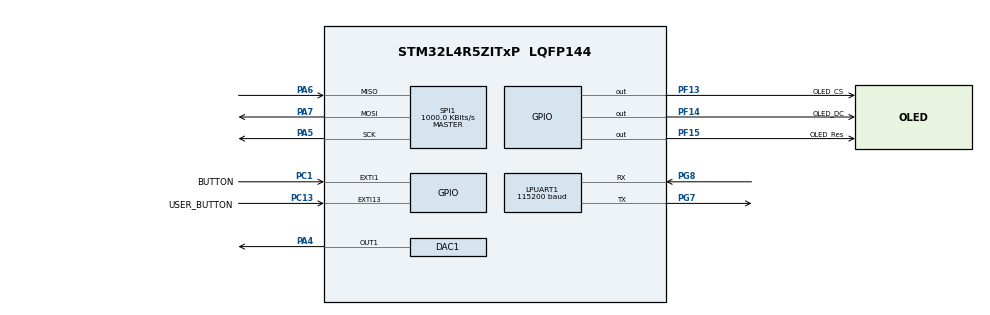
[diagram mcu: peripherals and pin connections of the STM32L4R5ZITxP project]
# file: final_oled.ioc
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DAC1.DAC_Trigger-DAC_OUT1_ExtAndInt=DAC_TRIGGER_T6_TRGO
Dma.DAC1_CH1.0.Direction=DMA_MEMORY_TO_PERIPH
Dma.DAC1_CH1.0.EventEnable=DISABLE
Dma.DAC1_CH1.0.Instance=DMA1_Channel1
Dma.DAC1_CH1.0.MemDataAlignment=DMA_MDATAALIGN_HALFWORD
Dma.DAC1_CH1.0.MemInc=DMA_MINC_ENABLE
Dma.DAC1_CH1.0.Mode=DMA_NORMAL
Dma.DAC1_CH1.0.PeriphDataAlignment=DMA_PDATAALIGN_HALFWORD
Dma.DAC1_CH1.0.PeriphInc=DMA_PINC_DISABLE
Dma.DAC1_CH1.0.Polarity=HAL_DMAMUX_REQUEST_GEN_RISING
Dma.DAC1_CH1.0.Priority=DMA_PRIORITY_LOW
Dma.DAC1_CH1.0.RequestNumber=1
Dma.DAC1_CH1.0.SignalID=NONE
Dma.DAC1_CH1.0.SyncEnable=DISABLE
Dma.DAC1_CH1.0.SyncPolarity=HAL_DMAMUX_SYNC_NO_EVENT
Dma.DAC1_CH1.0.SyncRequestNumber=1
Dma.DAC1_CH1.0.SyncSignalID=NONE
Dma.Request0=DAC1_CH1
LPUART1.BaudRate=115200
LPUART1.WordLength=UART_WORDLENGTH_8B
Mcu.Family=STM32L4
Mcu.Name=STM32L4R5ZITxP
Mcu.Package=LQFP144
NVIC.DMA1_Channel1_IRQn=true\:0\:0\:false\:false\:true\:false\:true\:true
NVIC.EXTI1_IRQn=true\:0\:0\:false\:false\:true\:true\:true\:true
NVIC.PriorityGroup=NVIC_PRIORITYGROUP_4
NVIC.TIM6_DAC_IRQn=true\:0\:0\:false\:false\:true\:true\:true\:true
PA1.Signal=ADCx_IN6
PA10.Signal=USB_OTG_FS_ID
PA13\ (JTMS/SWDIO).Signal=SYS_JTMS-SWDIO
PA14\ (JTCK/SWCLK).Signal=SYS_JTCK-SWCLK
PA3.Signal=ADCx_IN8
PA4.Signal=COMP_DAC11_group
PA5.Mode=Full_Duplex_Master
PA5.Signal=SPI1_SCK
PA6.Mode=Full_Duplex_Master
PA6.Signal=SPI1_MISO
PA7.Mode=Full_Duplex_Master
PA7.Signal=SPI1_MOSI
PA8.Signal=USB_OTG_FS_SOF
PA9.Signal=USB_OTG_FS_VBUS
PB0.Signal=S_TIM3_CH3
PB1.Signal=ADCx_IN16
PB10.Signal=S_TIM2_CH3
PB12.Signal=SAI2_FS_A
PB13.Signal=SAI2_SCK_A
PB14.Signal=S_TIM15_CH1
PB15.Signal=SAI2_SD_A
PB2.Signal=COMP1_INP
PB3\ (JTDO/TRACESWO).Signal=SPI3_SCK
PB4\ (NJTRST).Signal=SPI3_MISO
PB5.Signal=SPI3_MOSI
PB6.Signal=COMP2_INP
PB8.Signal=I2C1_SCL
PB9.Signal=I2C1_SDA
PC0.Signal=ADCx_IN1
PC1.GPIO_Label=BUTTON
PC1.GPIO_ModeDefaultEXTI=GPIO_MODE_IT_RISING_FALLING
PC1.GPIO_PuPd=GPIO_PULLUP
PC1.Signal=GPXTI1
PC10.Signal=SDMMC1_D2
PC11.Signal=SDMMC1_D3
PC12.Signal=SDMMC1_CK
PC13.GPIO_Label=USER_BUTTON
PC13.GPIO_PuPd=GPIO_PULLDOWN
PC13.Signal=GPXTI13
PC14-OSC32_IN\ (PC14).Signal=RCC_OSC32_IN
PC15-OSC32_OUT\ (PC15).Signal=RCC_OSC32_OUT
PC2.Signal=ADCx_IN3
PC3.Signal=ADCx_IN4
PC4.Signal=ADCx_IN13
PC5.Signal=ADCx_IN14
PC6.Signal=SAI2_MCLK_A
PC7.Signal=S_TIM3_CH2
PC8.Signal=SDMMC1_D0
PC9.Signal=SDMMC1_D1
PD0.Signal=CAN1_RX
PD14.Signal=S_TIM4_CH3
PD15.Signal=S_TIM4_CH4
PD2.Signal=SDMMC1_CMD
PD3.Signal=USART2_CTS
PD4.Signal=USART2_RTS
PD5.Signal=USART2_TX
PD6.Signal=USART2_RX
PD8.Signal=USART3_TX
PD9.Signal=USART3_RX
PE0.Signal=S_TIM4_ETR
PE10.Signal=TIM1_CH2N
PE11.Signal=S_TIM1_CH2
PE12.Signal=TIM1_CH3N
PE13.Signal=S_TIM1_CH3
PE14.Signal=TIM1_BKIN2
PE15.Signal=TIM1_BKIN
PE2.Signal=SAI1_MCLK_A
PE3.Signal=SAI1_SD_B
PE7.Signal=S_TIM1_ETR
PE8.Signal=TIM1_CH1N
PE9.Signal=S_TIM1_CH1
PF0.Signal=I2C2_SDA
PF1.Signal=I2C2_SCL
PF13.GPIO_Label=OLED_CS
PF13.GPIO_Speed=GPIO_SPEED_FREQ_LOW
PF13.PinState=GPIO_PIN_SET
PF13.Signal=GPIO_Output
PF14.GPIO_Label=OLED_DC
PF14.PinState=GPIO_PIN_SET
PF14.Signal=GPIO_Output
PF15.GPIO_Label=OLED_Res
PF15.PinState=GPIO_PIN_SET
PF15.Signal=GPIO_Output
PF2.Signal=I2C2_SMBA
PF7.Signal=SAI1_MCLK_B
PG7.Mode=Asynchronous
PG7.Signal=LPUART1_TX
PG8.Mode=Asynchronous
PG8.Signal=LPUART1_RX
PH0-OSC_IN\ (PH0).Signal=RCC_OSC_IN
PH1-OSC_OUT\ (PH1).Signal=RCC_OSC_OUT
ProjectManager.HeapSize=0x200
ProjectManager.StackSize=0x400
ProjectManager.TargetToolchain=STM32CubeIDE
RCC.HSE_VALUE=8000000
RCC.HSI48_VALUE=48000000
RCC.HSI_VALUE=16000000
RCC.LSE_VALUE=32768
RCC.MSI_VALUE=4000000
RCC.VCOOutputFreq_Value=32000000
SH.ADCx_IN1.0=ADC1_IN1
SH.ADCx_IN13.0=ADC1_IN13
SH.ADCx_IN14.0=ADC1_IN14
SH.ADCx_IN16.0=ADC1_IN16
SH.ADCx_IN3.0=ADC1_IN3
SH.ADCx_IN4.0=ADC1_IN4
SH.ADCx_IN6.0=ADC1_IN6
SH.ADCx_IN8.0=ADC1_IN8
SH.COMP_DAC11_group.0=DAC1_OUT1,DAC_OUT1_ExtAndInt
SH.S_TIM15_CH1.0=TIM15_CH1
SH.S_TIM1_CH1.0=TIM1_CH1
SH.S_TIM1_CH2.0=TIM1_CH2
SH.S_TIM1_CH3.0=TIM1_CH3
SH.S_TIM1_ETR.0=TIM1_ETR
SH.S_TIM2_CH3.0=TIM2_CH3
SH.S_TIM3_CH2.0=TIM3_CH2
SH.S_TIM3_CH3.0=TIM3_CH3
SH.S_TIM4_CH3.0=TIM4_CH3
SH.S_TIM4_CH4.0=TIM4_CH4
SH.S_TIM4_ETR.0=TIM4_ETR
SPI1.BaudRatePrescaler=SPI_BAUDRATEPRESCALER_4
SPI1.CalculateBaudRate=1000.0 KBits/s
SPI1.DataSize=SPI_DATASIZE_8BIT
SPI1.Direction=SPI_DIRECTION_2LINES
SPI1.Mode=SPI_MODE_MASTER
SPI1.VirtualType=VM_MASTER
TIM6.Period=181
TIM6.TIM_MasterOutputTrigger=TIM_TRGO_UPDATE
VP_TIM6_VS_ClockSourceINT.Mode=Enable_Timer
board=NUCLEO-L4R5ZI-P

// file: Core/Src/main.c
/* USER CODE BEGIN Header */
/**
  ******************************************************************************
  * @file           : main.c
  * @brief          : Main program body
  ******************************************************************************
  * @attention
  *
  * Copyright (c) 2025 STMicroelectronics.
  * All rights reserved.
  *
  * This software is licensed under terms that can be found in the LICENSE file
  * in the root directory of this software component.
  * If no LICENSE file comes with this software, it is provided AS-IS.
  *
  ******************************************************************************
  */
/* USER CODE END Header */
#include "main.h"
#include "dac.h"
#include "dma.h"
#include "usart.h"
#include "spi.h"
#include "tim.h"
#include "gpio.h"

/* USER CODE BEGIN Includes */
#include "ssd1306.h"
#include "ssd1306_fonts.h"
#include <string.h>

#include "utils.h"
#include <stdio.h>

#include "ssd1306_tests.h"
#include "system_state.h"
#include "button.h"
#include "oled.h"
#include "speaker.h"

/* USER CODE END Includes */

void SystemClock_Config(void);

int main(void)
{

  /* MCU Configuration--------------------------------------------------------*/

  /* Reset of all peripherals, Initializes the Flash interface and the Systick. */
  HAL_Init();

  /* Configure the system clock */
  SystemClock_Config();

  /* Initialize all configured peripherals */
  MX_GPIO_Init();
  MX_DMA_Init();
  MX_LPUART1_UART_Init();
  MX_SPI1_Init();
  MX_DAC1_Init();
  MX_TIM6_Init();
  /* USER CODE BEGIN 2 */

  ssd1306_Init(); 				// Initialize OLED display

  initSpeaker();				// Initialize speaker

  // Display startup message
  ssd1306_SetCursor(5, 5);	  	// Place cursor
  ssd1306_WriteString("Bike Drifter", Font_7x10, White);
  ssd1306_UpdateScreen();

  /* USER CODE END 2 */

  /* Infinite loop */
  /* USER CODE BEGIN WHILE */

  while (1)
  {

	  // 1. Determine button press and set flags for OLED, speaker, and accel
	  handle_button();

//	  read_accelerometer();		// TODO

	  // 2. Refresh the display to show new message
	  if (refreshDisplay) {
		  refreshDisplay = 0;

		  switch (currentMode) {
		  	  case MODE_ACCEL:
		  		  oled_accel_mode();
		  		  break;
		  	  case MODE_SOUND:
		  		  oled_speaker_mode();
		  		  break;
		  	  case MODE_VOLUME:
		  		  oled_volume_mode();
		  		  break;
		  }
	  }

	  // 3. Play drift sound
	  if (playSound) {
		  playSound = 0;
		  playDrift(driftIndex, volumeScale);
	  }

    /* USER CODE END WHILE */

  }
}

void SystemClock_Config(void)
{
  RCC_OscInitTypeDef RCC_OscInitStruct = {0};
  RCC_ClkInitTypeDef RCC_ClkInitStruct = {0};

  /** Configure the main internal regulator output voltage
  */
  if (HAL_PWREx_ControlVoltageScaling(PWR_REGULATOR_VOLTAGE_SCALE1) != HAL_OK)
  {
    Error_Handler();
  }

  /** Initializes the RCC Oscillators according to the specified parameters
  * in the RCC_OscInitTypeDef structure.
  */
  RCC_OscInitStruct.OscillatorType = RCC_OSCILLATORTYPE_MSI;
  RCC_OscInitStruct.MSIState = RCC_MSI_ON;
  RCC_OscInitStruct.MSICalibrationValue = 0;
  RCC_OscInitStruct.MSIClockRange = RCC_MSIRANGE_6;
  RCC_OscInitStruct.PLL.PLLState = RCC_PLL_NONE;
  if (HAL_RCC_OscConfig(&RCC_OscInitStruct) != HAL_OK)
  {
    Error_Handler();
  }

  /** Initializes the CPU, AHB and APB buses clocks
  */
  RCC_ClkInitStruct.ClockType = RCC_CLOCKTYPE_HCLK|RCC_CLOCKTYPE_SYSCLK
                              |RCC_CLOCKTYPE_PCLK1|RCC_CLOCKTYPE_PCLK2;
  RCC_ClkInitStruct.SYSCLKSource = RCC_SYSCLKSOURCE_MSI;
  RCC_ClkInitStruct.AHBCLKDivider = RCC_SYSCLK_DIV1;
  RCC_ClkInitStruct.APB1CLKDivider = RCC_HCLK_DIV1;
  RCC_ClkInitStruct.APB2CLKDivider = RCC_HCLK_DIV1;

  if (HAL_RCC_ClockConfig(&RCC_ClkInitStruct, FLASH_LATENCY_0) != HAL_OK)
  {
    Error_Handler();
  }
}

/* USER CODE BEGIN 4 */

void HAL_GPIO_EXTI_Callback(uint16_t GPIO_Pin)
{
    if (GPIO_Pin == BUTTON_Pin)
    {
    	button_SetIRQFlag();	// Set button flag high
//        printf("button interrupt\r\n");	// debug
    }
}

/* USER CODE END 4 */

void Error_Handler(void)
{
  __disable_irq();
  while (1)
  {
  }
}
